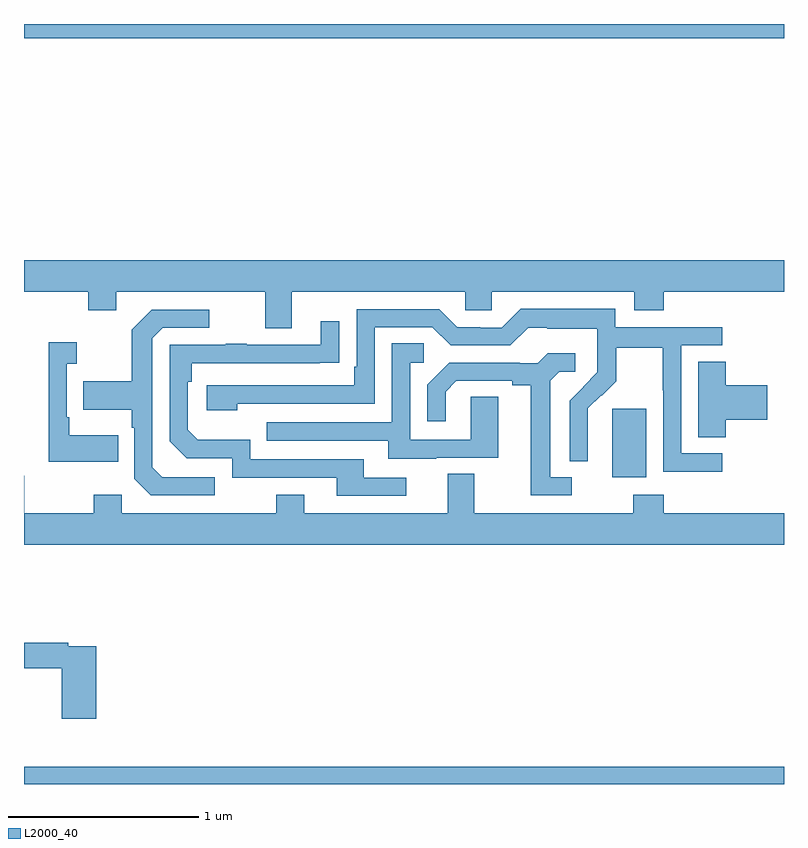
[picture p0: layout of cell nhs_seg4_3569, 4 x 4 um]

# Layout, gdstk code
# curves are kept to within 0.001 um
import gdstk
lib = gdstk.Library(unit=1e-6, precision=1e-09)
def R(c, l, rs):  # rectangles x0, y0, x1, y1
    for r in rs: c.add(gdstk.rectangle(r[:2], r[2:], *l))
def P(c, l, *ps):  # polygons
    for p in ps: c.add(gdstk.Polygon(p, *l))
L2000_40 = (2000, 40)

nhs_seg4_3569 = lib.new_cell('nhs_seg4_3569')
R(nhs_seg4_3569, L2000_40, [(299,788.9,303,788.992), (302.096,790.514,302.275,790.875), (299,792.824,303,792.9)])
P(nhs_seg4_3569, L2000_40, [(300.409,791.492),(301.323,791.492),(301.323,791.394),(301.461,791.394),(301.461,791.492),(302.213,791.492),(302.213,791.393),(302.366,791.393),(302.366,791.492),(303,791.492),(303,791.656),(299,791.656),(299,791.492),(299.338,791.492),(299.338,791.393),(299.485,791.393),(299.485,791.492),(300.269,791.492),(300.269,791.298),(300.409,791.298)],
  [(302.674,790.641),(302.46,790.641),(302.46,791.208),(302.674,791.208),(302.674,791.304),(302.112,791.304),(302.112,791.401),(301.615,791.401),(301.515,791.301),(301.4,791.301),(301.4,791.304),(301.281,791.304),(301.185,791.4),(300.75,791.4),(300.75,791.095),(300.737,791.095),(300.737,790.998),(299.961,790.998),(299.961,790.868),(300.122,790.868),(300.122,790.902),(300.846,790.902),(300.846,791.304),(301.149,791.304),(301.245,791.208),(301.56,791.208),(301.653,791.301),(301.753,791.301),(301.753,791.297),(302.016,791.297),(302.016,791.163),(302.018,791.163),(302.018,791.066),(301.872,790.918),(301.872,790.6),(301.968,790.6),(301.967,790.877),(302.037,790.947),(302.04,790.944),(302.117,791.021),(302.117,791.196),(302.362,791.196),(302.362,790.972),(302.364,790.972),(302.364,790.543),(302.674,790.543)],
  [(300.004,790.515),(299.727,790.515),(299.676,790.566),(299.676,791.247),(299.73,791.301),(299.974,791.301),(299.974,791.397),(299.673,791.397),(299.568,791.291),(299.568,791.019),(299.311,791.019),(299.311,790.871),(299.568,790.871),(299.568,790.775),(299.58,790.775),(299.58,790.506),(299.667,790.419),(300.004,790.419)],
  [(301.012,790.512),(300.787,790.512),(300.787,790.608),(300.192,790.608),(300.192,790.711),(299.915,790.711),(299.862,790.764),(299.862,791.018),(299.882,791.018),(299.882,791.115),(300.659,791.116),(300.659,791.335),(300.563,791.335),(300.563,791.211),(300.173,791.211),(300.173,791.216),(300.061,791.216),(300.061,791.211),(299.766,791.211),(299.766,790.704),(299.856,790.614),(300.096,790.614),(300.096,790.512),(300.647,790.512),(300.647,790.416),(301.012,790.416)],
  [(299.495,790.735),(299.239,790.735),(299.239,790.831),(299.226,790.831),(299.226,791.111),(299.278,791.111),(299.278,791.224),(299.129,791.224),(299.129,790.595),(299.495,790.595)],
  [(301.171,790.617),(301.495,790.617),(301.495,790.937),(301.35,790.937),(301.35,790.713),(301.032,790.713),(301.032,791.118),(301.105,791.118),(301.105,791.219),(300.936,791.219),(300.936,790.803),(300.277,790.803),(300.277,790.707),(300.917,790.707),(300.917,790.613),(301.171,790.613)],
  [(301.882,790.515),(301.771,790.515),(301.771,791.023),(301.818,791.07),(301.9,791.07),(301.9,791.167),(301.756,791.167),(301.704,791.115),(301.61,791.115),(301.61,791.118),(301.238,791.118),(301.122,791.002),(301.122,790.809),(301.219,790.809),(301.219,790.965),(301.276,791.022),(301.571,791.022),(301.571,791),(301.667,791),(301.667,790.419),(301.882,790.419)],
  [(302.693,790.817),(302.911,790.817),(302.911,791),(302.693,791),(302.693,791.123),(302.549,791.123),(302.549,790.726),(302.693,790.726)],
  [(303,790.324),(302.366,790.324),(302.366,790.423),(302.206,790.423),(302.206,790.324),(301.369,790.324),(301.369,790.532),(301.229,790.532),(301.229,790.324),(300.475,790.324),(300.475,790.423),(300.328,790.423),(300.328,790.324),(299.514,790.324),(299.514,790.423),(299.368,790.423),(299.368,790.324),(299.001,790.324),(299.001,790.523),(299,790.523),(299,790.16),(303,790.16)],
  [(299.381,789.624),(299.234,789.624),(299.234,789.644),(299,789.644),(299,789.508),(299.198,789.508),(299.198,789.243),(299.381,789.243)])

lib.write_gds('nhs_seg4_3569.gds')
